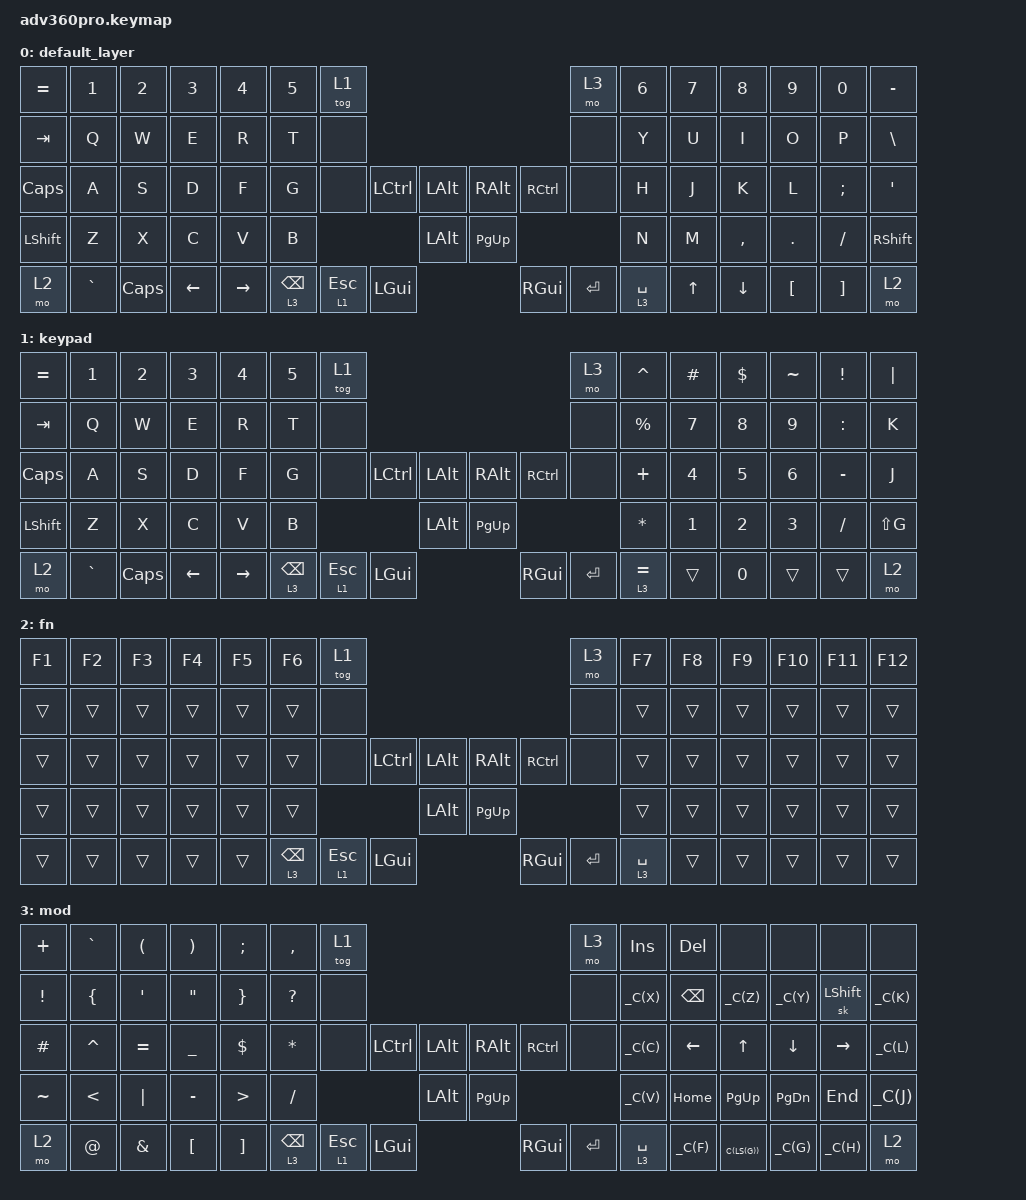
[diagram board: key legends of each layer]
#include <behaviors.dtsi>

#include <dt-bindings/zmk/outputs.h>
#include <dt-bindings/zmk/keys.h>
#include <dt-bindings/zmk/bt.h>
#include <dt-bindings/zmk/rgb.h>
#include <dt-bindings/zmk/backlight.h>
/* Custom Defined Behaviors */
/ {
    // NOTE: Use the `#define` settings below to customize this keymap!
    // For example, here are the main optional features you can enable:
    #define DIFFICULTY_LEVEL  5 // 1:easy --> 5:hard (see levels below)
    #define ENFORCE_BILATERAL   // cancels single-handed home row mod+tap
    //#define ENABLE_KEY_REPEAT // permits "tap then hold" key repetition

    //////////////////////////////////////////////////////////////////////////////
    //
    // Sunaku's Keymap v34 -- "Glorious Engrammer"
    // - https://github.com/sunaku/glove80-keymaps
    //
    //////////////////////////////////////////////////////////////////////////////

    //
    // DIFFICULTY_LEVEL specifies your level of expertise with this keymap.
    // It's meant to help newcomers gradually work their way up to mastery.
    // You can disable this setting by omitting it or assigning a `0` zero.
    //
    // #define DIFFICULTY_LEVEL 0 // custom (no preset settings)
    // #define DIFFICULTY_LEVEL 1 // novice (500ms)
    // #define DIFFICULTY_LEVEL 2 // slower (400ms)
    // #define DIFFICULTY_LEVEL 3 // normal (300ms)
    // #define DIFFICULTY_LEVEL 4 // faster (200ms)
    // #define DIFFICULTY_LEVEL 5 // sunaku (see defaults below)
    //
    #ifdef DIFFICULTY_LEVEL
    #if DIFFICULTY_LEVEL == 1
        #define CAPPY_HOLDING_TIME 500
        #define HOMEY_HOLDING_TIME 500
        #define INDEX_HOLDING_TIME 500
        #define PLAIN_HOLDING_TIME 500
        #define SPACE_HOLDING_TIME 500
    #elif DIFFICULTY_LEVEL == 2
        #define CAPPY_HOLDING_TIME 400
        #define HOMEY_HOLDING_TIME 400
        #define INDEX_HOLDING_TIME 400
        #define PLAIN_HOLDING_TIME 400
        #define SPACE_HOLDING_TIME 400
    #elif DIFFICULTY_LEVEL == 3
        #define CAPPY_HOLDING_TIME 300
        #define HOMEY_HOLDING_TIME 300
        #define INDEX_HOLDING_TIME 300
        #define PLAIN_HOLDING_TIME 300
        #define SPACE_HOLDING_TIME 300
    #elif DIFFICULTY_LEVEL == 4
        #define CAPPY_HOLDING_TIME 200
        #define HOMEY_HOLDING_TIME 200
        #define INDEX_HOLDING_TIME 200
        #define PLAIN_HOLDING_TIME 200
        #define SPACE_HOLDING_TIME 200
    #endif
    #endif
    //
    // OPERATING_SYSTEM defines which operating system you intend to use
    // with this keymap, because shortcuts vary across operating systems.
    //
    // - https://zmk.dev/docs/codes
    // - https://en.wikipedia.org/wiki/Table_of_keyboard_shortcuts
    //
    #ifndef OPERATING_SYSTEM
    #define OPERATING_SYSTEM 1 // linux
    //#define OPERATING_SYSTEM 2 // macos
    //#define OPERATING_SYSTEM 3 // windows
    #endif
    #if OPERATING_SYSTEM == 2
        #define _C      LG
        #define _REDO   _C(LS(Z))
        #define _POWER  K_POWER
        #define _W      LA
        #define _HOME   _C(LEFT)
        #define _END    _C(RIGHT)
    #else
        #define _C      LC
        #define _REDO   _C(Y)
        #define _POWER  C_POWER
        #define _W      _C
        #define _HOME   HOME
        #define _END    END
    #endif
    #define _SLEEP      C_SLEEP
    #if OPERATING_SYSTEM == 3
        #define _LOCK   LG(L)
    #elif OPERATING_SYSTEM == 2
        #define _LOCK   _C(LC(Q))
    #elif OPERATING_SYSTEM == 1
        #define _LOCK   K_LOCK
    #endif
    #define _UNDO       _C(Z)
    #define _CUT        _C(X)
    #define _COPY       _C(C)
    #define _PASTE      _C(V)
    #define _FIND       _C(F)
    #define _FIND_NEXT  _C(G)
    #define _FIND_PREV  _C(LS(G))

    keymap {
        compatible = "zmk,keymap";

        default_layer {
            bindings = <
                &kp EQUAL &kp N1    &kp N2   &kp N3   &kp N4     &kp N5 &tog 1                                                                                &mo 3 &kp N6 &kp N7 &kp N8    &kp N9   &kp N0   &kp MINUS
                &kp TAB   &kp Q     &kp W    &kp E    &kp R      &kp T  &none                                                                                 &none &kp Y  &kp U  &kp I     &kp O    &kp P    &kp BSLH
                &kp CAPS  &kp A     &kp S    &kp D    &kp F      &kp G  &none                           &kp LCTRL        &kp LALT &kp RALT &kp RCTRL          &none &kp H  &kp J  &kp K     &kp L    &kp SEMI &kp SQT
                &kp LSHFT &kp Z     &kp X    &kp C    &kp V      &kp B                                                   &kp LALT &kp PG_UP                         &kp N  &kp M  &kp COMMA &kp DOT  &kp FSLH &kp RSHFT
                &mo 2     &kp GRAVE &kp CAPS &kp LEFT &kp RIGHT                         &lt 3 BACKSPACE &lt 1 ESC   &kp LGUI &kp RGUI &kp ENTER &lt 3 SPACE                &kp UP &kp DOWN  &kp LBKT &kp RBKT &mo 2
            >;
        };
        keypad {
            bindings = <
                &kp EQUAL &kp N1    &kp N2   &kp N3   &kp N4     &kp N5 &tog 1                                                                                 &mo 3 &kp CARET  &kp HASH  &kp DLLR  &kp TILDE     &kp EXCL        &kp PIPE
                &kp TAB   &kp Q     &kp W    &kp E    &kp R      &kp T  &none                                                                                  &none &kp PRCNT  &kp N7    &kp N8    &kp N9        &kp COLON       &kp K
                &kp CAPS  &kp A     &kp S    &kp D    &kp F      &kp G  &none                           &kp LCTRL       &kp LALT &kp RALT &kp RCTRL            &none &kp PLUS   &kp N4    &kp N5    &kp N6        &kp MINUS       &kp J
                &kp LSHFT &kp Z     &kp X    &kp C    &kp V      &kp B                                                  &kp LALT &kp PG_UP                           &kp STAR   &kp N1    &kp N2    &kp N3        &kp FSLH        &kp LS(G)
                &mo 2     &kp GRAVE &kp CAPS &kp LEFT &kp RIGHT                         &lt 3 BACKSPACE &lt 1 ESC  &kp LGUI &kp RGUI &kp ENTER &lt 3 EQUAL                      &trans    &kp N0    &trans        &trans          &mo 2
            >;
        };
        fn {
            bindings = <
                &kp F1 &kp F2 &kp F3 &kp F4 &kp F5 &kp F6 &tog 1                                                                                                &mo 3 &kp F7 &kp F8 &kp F9 &kp F10 &kp F11 &kp F12
                &trans &trans &trans &trans &trans &trans  &none                                                                                                &none &trans &trans &trans &trans  &trans  &trans
                &trans &trans &trans &trans &trans &trans  &none                                         &kp LCTRL       &kp LALT &kp RALT &kp RCTRL            &none &trans &trans &trans &trans  &trans  &trans
                &trans &trans &trans &trans &trans &trans                                                                &kp LALT &kp PG_UP                           &trans &trans &trans &trans  &trans  &trans
                &trans &trans &trans &trans &trans                                      &lt 3 BACKSPACE  &lt 1 ESC  &kp LGUI &kp RGUI &kp ENTER &lt 3 SPACE             &trans &trans &trans  &trans  &trans
            >;
        };
        mod {
            bindings = <
                &kp PLUS  &kp GRAVE &kp LPAR &kp RPAR &kp SEMI   &kp COMMA &tog 1                                                                               &mo 3 &kp INS    &kp DEL   &none     &none         &none           &none
                &kp EXCL  &kp LBRC  &kp SQT  &kp DQT  &kp RBRC   &kp QMARK &none                                                                                &none &kp _CUT   &kp BSPC  &kp _UNDO &kp _REDO     &sk LSHFT       &kp _C(K)
                &kp HASH  &kp CARET &kp EQUAL &kp UNDER &kp DLLR &kp STAR &none                         &kp LCTRL       &kp LALT &kp RALT &kp RCTRL             &none &kp _COPY  &kp LEFT  &kp UP    &kp DOWN      &kp RIGHT       &kp _C(L)
                &kp TILDE &kp LT    &kp PIPE &kp MINUS &kp GT    &kp FSLH                                               &kp LALT &kp PG_UP                            &kp _PASTE &kp HOME  &kp PG_UP &kp PG_DN     &kp END         &kp _C(J)
                &mo 2     &kp AT    &kp AMPS &kp LBKT  &kp RBKT                         &lt 3 BACKSPACE &lt 1 ESC  &kp LGUI &kp RGUI &kp ENTER &lt 3 SPACE                       &kp _FIND &kp _FIND_PREV &kp _FIND_NEXT &kp _C(H) &mo 2
            >;
        };      

    };
};
